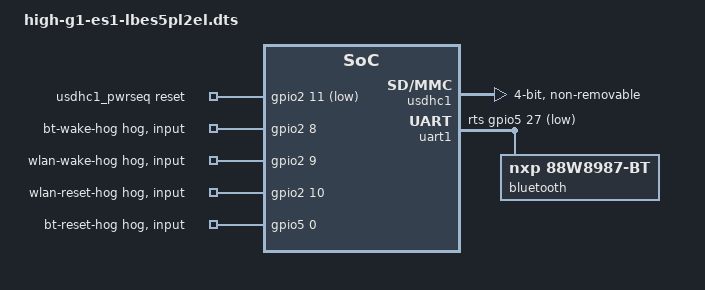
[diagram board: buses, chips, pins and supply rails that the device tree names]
// SPDX-License-Identifier: (GPL-2.0 OR MIT)
/*
 * Copyright (C) 2024 Atmark Techno, Inc. All Rights Reserved.
 */

/dts-v1/;
/plugin/;

#include <dt-bindings/gpio/gpio.h>
#include <dt-bindings/clock/imx8mp-clock.h>
#include <dt-bindings/input/input.h>
#include <dt-bindings/interrupt-controller/irq.h>

#include "imx8mp-pinfunc.h"

/* The TH function of LBES5PL2EL is not used. */

&{/} {
	usdhc1_pwrseq: usdhc1_pwrseq {
		compatible = "mmc-pwrseq-simple";
		pinctrl-names = "default";
		pinctrl-0 = <&pinctrl_usdhc1_pwrseq>;
		reset-gpios = <&gpio2 11 GPIO_ACTIVE_LOW>;
	};
};

&usdhc1 {
	assigned-clocks = <&clk IMX8MP_CLK_USDHC1>;
	assigned-clock-rates = <400000000>;
	pinctrl-names = "default", "state_100mhz", "state_200mhz", "sleep";
	pinctrl-0 = <&pinctrl_usdhc1>;
	pinctrl-1 = <&pinctrl_usdhc1_100mhz>;
	pinctrl-2 = <&pinctrl_usdhc1_200mhz>;
	pinctrl-3 = <&pinctrl_usdhc1_sleep>;
	keep-power-in-suspend;
	bus-width = <4>;
	non-removable;
	wakeup-source;
	mmc-pwrseq = <&usdhc1_pwrseq>;
	fsl,sdio-interrupt-enable;
	status = "okay";
};

&uart1 {
	pinctrl-names = "default";
	pinctrl-0 = <&pinctrl_uart1>;
	assigned-clocks = <&clk IMX8MP_CLK_UART1>;
	assigned-clock-parents = <&clk IMX8MP_SYS_PLL1_80M>;
	status = "okay";

	cts-gpios = <&gpio5 26 GPIO_ACTIVE_LOW>;
	rts-gpios = <&gpio5 27 GPIO_ACTIVE_LOW>;

	bluetooth {
		compatible = "nxp,88w8987-bt";
		btnxpuart,required-netdev = "mlan0";
	};
};

&gpio2 {
	pinctrl-names = "default";
	pinctrl-0 = <&pinctrl_lbes5pl2el_gpio2>;

	bt-wake-hog {
		gpio-hog;
		gpios = <8 GPIO_ACTIVE_HIGH>;
		input;
	};

	wlan-wake-hog {
		gpio-hog;
		gpios = <9 GPIO_ACTIVE_HIGH>;
		input;
	};

	wlan-reset-hog {
		gpio-hog;
		gpios = <10 GPIO_ACTIVE_HIGH>;
		input;
	};
};

&gpio5 {
	pinctrl-names = "default";
	pinctrl-0 = <&pinctrl_lbes5pl2el_gpio5>;

	bt-reset-hog {
		gpio-hog;
		gpios = <0 GPIO_ACTIVE_HIGH>;
		input;
	};
};

&iomuxc {
	pinctrl_lbes5pl2el_gpio2: lbes5pl2el-gpio2grp {
		fsl,pins = <
			MX8MP_IOMUXC_SD1_DATA6__GPIO2_IO08	0x92 /* BT15.4_WAKE */
			MX8MP_IOMUXC_SD1_DATA7__GPIO2_IO09	0x92 /* WLAN_WAKE */
			MX8MP_IOMUXC_SD1_RESET_B__GPIO2_IO10	0x92 /* WLAN_RESET_B */
		>;
	};

	pinctrl_usdhc1_pwrseq: usdhc1-pwrseqgrp {
		fsl,pins = <
			MX8MP_IOMUXC_SD1_STROBE__GPIO2_IO11	0x92 /* WLAN_BT_TH_PDn */
		>;
	};

	pinctrl_lbes5pl2el_gpio5: lbes5pl2el-gpio5grp {
		fsl,pins = <
			MX8MP_IOMUXC_SAI3_TXC__GPIO5_IO00	0x92 /* BT_RESET_B */
		>;
	};

	pinctrl_usdhc1: usdhc1grp {
		fsl,pins = <
			MX8MP_IOMUXC_SD1_CLK__USDHC1_CLK	0x190 /* WLAN_SDHC1_CLK */
			MX8MP_IOMUXC_SD1_CMD__USDHC1_CMD	0x1d0 /* WLAN_SDHC1_CMD */
			MX8MP_IOMUXC_SD1_DATA0__USDHC1_DATA0	0x1d0 /* WLAN_SDHC1_DATA0 */
			MX8MP_IOMUXC_SD1_DATA1__USDHC1_DATA1	0x1d0 /* WLAN_SDHC1_DATA1 */
			MX8MP_IOMUXC_SD1_DATA2__USDHC1_DATA2	0x1d0 /* WLAN_SDHC1_DATA2 */
			MX8MP_IOMUXC_SD1_DATA3__USDHC1_DATA3	0x1d0 /* WLAN_SDHC1_DATA3 */
		>;
	};

	pinctrl_usdhc1_100mhz: usdhc1grp-100mhz {
		fsl,pins = <
			MX8MP_IOMUXC_SD1_CLK__USDHC1_CLK	0x190
			MX8MP_IOMUXC_SD1_CMD__USDHC1_CMD	0x1d0
			MX8MP_IOMUXC_SD1_DATA0__USDHC1_DATA0	0x1d0
			MX8MP_IOMUXC_SD1_DATA1__USDHC1_DATA1	0x1d0
			MX8MP_IOMUXC_SD1_DATA2__USDHC1_DATA2	0x1d0
			MX8MP_IOMUXC_SD1_DATA3__USDHC1_DATA3	0x1d0
		>;
	};

	pinctrl_usdhc1_200mhz: usdhc1grp-200mhz {
		fsl,pins = <
			MX8MP_IOMUXC_SD1_CLK__USDHC1_CLK	0x190
			MX8MP_IOMUXC_SD1_CMD__USDHC1_CMD	0x1d4
			MX8MP_IOMUXC_SD1_DATA0__USDHC1_DATA0	0x1d4
			MX8MP_IOMUXC_SD1_DATA1__USDHC1_DATA1	0x1d4
			MX8MP_IOMUXC_SD1_DATA2__USDHC1_DATA2	0x1d4
			MX8MP_IOMUXC_SD1_DATA3__USDHC1_DATA3	0x1d4
		>;
	};

	pinctrl_usdhc1_sleep: usdhc1grp-sleep {
		fsl,pins = <
			MX8MP_IOMUXC_SD1_CLK__USDHC1_CLK	0x41
			MX8MP_IOMUXC_SD1_CMD__USDHC1_CMD	0x41
			MX8MP_IOMUXC_SD1_DATA0__USDHC1_DATA0	0x41
			MX8MP_IOMUXC_SD1_DATA1__USDHC1_DATA1	0x41
			MX8MP_IOMUXC_SD1_DATA2__USDHC1_DATA2	0x41
			MX8MP_IOMUXC_SD1_DATA3__USDHC1_DATA3	0x41
		>;
	};

	pinctrl_uart1: uart1grp {
		fsl,pins = <
			MX8MP_IOMUXC_UART1_RXD__UART1_DCE_RX	0x140 /* BT_UART1_RX */
			MX8MP_IOMUXC_UART1_TXD__UART1_DCE_TX	0x140 /* BT_UART1_TX */
			MX8MP_IOMUXC_UART3_RXD__GPIO5_IO26	0x140 /* BT_UART1_CTS_B */
			MX8MP_IOMUXC_UART3_TXD__GPIO5_IO27	0x140 /* BT_UART1_RTS_B */
		>;
	};
};
